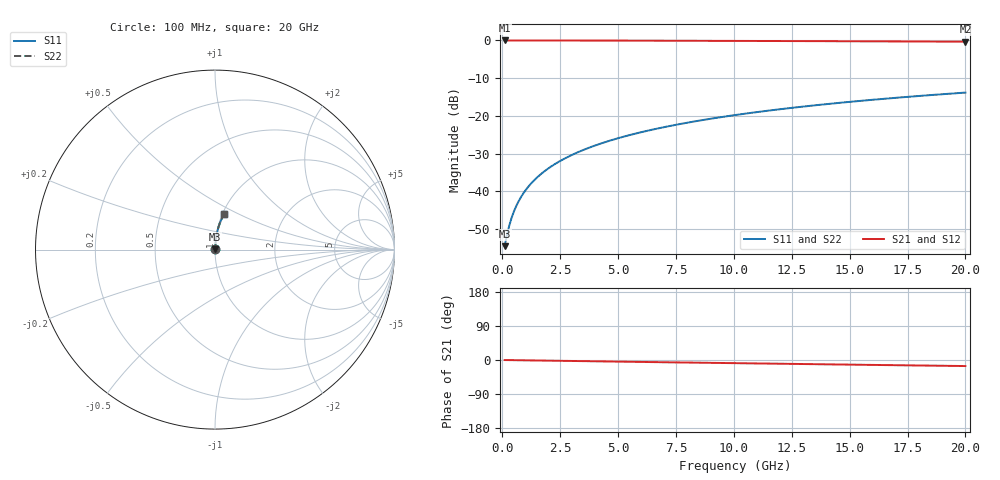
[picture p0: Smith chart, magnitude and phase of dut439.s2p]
! Touchstone file exported from HFSS 2024.1.0
!  File:  C:/UserFiles/LocalFiles/RDL_TSV_Batchsim/temp_RDL_top_439_1779676678.aedt
!  Generated:  10:40:28 AM May 25, 2026
!  Design:  RDL_top
!  Project:  temp_RDL_top_439_1779676678
!  Setup:  Setup1
!  Solution:  Sweep
! Variables:
!  dtsv = 10.80580581um
!  hbump = 3um
!  htsv = 80.6um
!  ldown = 100um
!  lrdl = 179.58um
!  p = 40
!  p1 = 42.75um
!  rhole = 1um
!  t = 450um
!  tdown = 3.915915916um
!  trdl = 3.6um
!  wdown = 15.38538539um
!  wrdl = 12.51um
# GHz S MA R 50.000000
! Terminal data exported
! Port[1] = Box2_T1
! Port[2] = Box2_T2
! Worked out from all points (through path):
!   200 points, 100 MHz to 20 GHz, reference 50 ohm
!   highest |S21| = -0.01 dB at 100 MHz (marker M1); lowest = -0.3 dB at 20 GHz (marker M2)
!   group delay of S21, straight-line fit = 2.21 ps
!   lowest |S11| = -54.5 dB at 100 MHz (marker M3), VSWR 1.00, Z = 50.2 + j0.106 ohm
!   |S11| at or under -10 dB: start of sweep to end of sweep
!   |S22| runs from -54.5 to -13.8 dB; largest |S21 - S12| = 3.5e-15
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0.1  0.001887 33.9  0.9984 -0.1  0.9984 -0.1  0.001887 33.9
! Gamma 0 0 0 0
! Port Impedance 50 0 50 0
0.2  0.002632 52.8  0.9984 -0.2  0.9984 -0.2  0.002632 52.8
0.3  0.003523 62.5  0.9984 -0.3  0.9984 -0.3  0.003524 62.5
0.4  0.004466 68.1  0.9983 -0.4  0.9983 -0.4  0.004466 68.1
0.5  0.005428 71.8  0.9983 -0.4  0.9983 -0.4  0.005428 71.8
0.6  0.0064 74.3  0.9982 -0.5  0.9982 -0.5  0.0064 74.3
0.8  0.008361 77.6  0.9982 -0.7  0.9982 -0.7  0.008361 77.6
1.1  0.01133 80.5  0.998 -1.0  0.998 -1.0  0.01133 80.5
1.5  0.01531 82.5  0.9978 -1.3  0.9978 -1.3  0.01531 82.5
1.8  0.01832 83.4  0.9976 -1.6  0.9976 -1.6  0.01832 83.4
2.1  0.02133 84.0  0.9974 -1.8  0.9974 -1.8  0.02133 84.0
2.7  0.02737 84.7  0.997 -2.3  0.997 -2.3  0.02737 84.7
3.5  0.03546 85.1  0.9962 -3.0  0.9962 -3.0  0.03546 85.1
4.2  0.04257 85.2  0.9953 -3.6  0.9953 -3.6  0.04256 85.2
5  0.05071 85.1  0.9943 -4.3  0.9943 -4.3  0.05071 85.1
5.9  0.05992 84.9  0.9929 -5.0  0.9929 -5.0  0.05992 84.9
6.8  0.06915 84.5  0.9914 -5.8  0.9914 -5.8  0.06915 84.5
8.3  0.08461 83.8  0.9887 -7.0  0.9887 -7.0  0.0846 83.8
10.1  0.1032 82.7  0.9851 -8.4  0.9851 -8.4  0.1032 82.7
13.4  0.1372 80.5  0.9781 -11.0  0.9781 -11.0  0.1372 80.5
16.7  0.1708 78.1  0.9704 -13.5  0.9704 -13.5  0.1708 78.0
20  0.2038 75.6  0.9622 -16.0  0.9622 -16.0  0.2038 75.6
